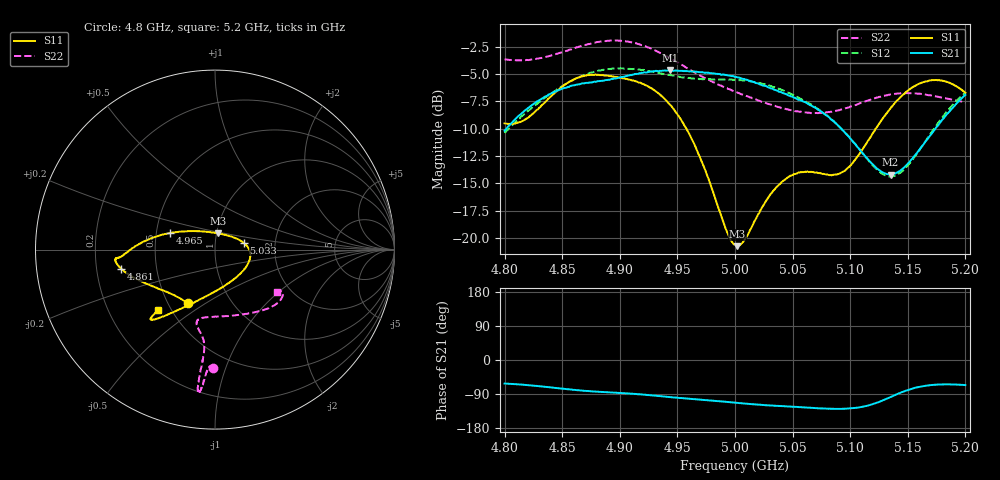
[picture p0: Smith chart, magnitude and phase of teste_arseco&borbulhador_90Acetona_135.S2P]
! Network Analyzer HP8722D
! Hewlett-Packard
! Data name: Linha & Wilkinson
! Saver's name: Rodrigo Anjos
! Comments: Teste da utilização de aquisição
! continua pelo VNA HP8722D
! Time and date: 17/4/2025 12:10
!  Frequency  S11  S21  S12  S22
# HZ  S  MA R 50
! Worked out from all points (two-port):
!   401 points, 4.8 GHz to 5.2 GHz, reference 50 ohm
!   highest |S21| = -4.65 dB at 4.944 GHz (marker M1); lowest = -14.2 dB at 5.135 GHz (marker M2)
!   |S21| within 3 dB of the highest: 4.826 GHz to 5.062 GHz (236.2 MHz wide, 4.78 % of centre); 5.192738 GHz to end of sweep
!   lowest |S11| = -20.7 dB at 5.002 GHz (marker M3), VSWR 1.20, Z = 50.8 + j9.26 ohm
!   |S11| at or under -10 dB: 4.958 GHz to 5.122 GHz (164.2 MHz wide, 3.26 % of centre)
!   |S22| runs from -8.6 to -1.9 dB; largest |S21 - S12| = 0.88
!   S11 on the Smith chart (normalised r, x): 4.8 GHz: 0.63, -0.42; 4.861 GHz: 0.31, -0.09; 4.965 GHz: 0.59, +0.12; 5.033 GHz: 1.37, +0.11; 5.2 GHz: 0.43, -0.36
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4.8e9  0.3348 -116.5  0.3096 -62.0  0.3027 -176.3  0.6581 -90.9
4.819e9  0.3521 -136.8  0.3885 -66.0  0.3758 -175.7  0.6533 -92.4
4.861e9  0.5348 -168.6  0.5006 -79.1  0.5345 -179.0  0.7397 -94.9
4.867e9  0.5487 -171.0  0.5102 -80.7  0.551 179.9  0.7577 -95.2
4.899e9  0.5422 -175.2  0.5408 -86.9  0.5974 173.6  0.7998 -96.6
4.934e9  0.4576 178.8  0.5804 -95.2  0.5703 170.3  0.7074 -97.0
4.944e9  0.4052 174.1  0.5855 -97.9  0.556 170.5  0.6651 -96.7
4.965e9  0.2666 159.7  0.5779 -103.6  0.5359 172.5  0.5719 -96.2
4.993e9  0.1071 112.3  0.556 -110.6  0.5328 174.8  0.4852 -98.7
5e9  0.09343 87.9  0.5459 -112.6  0.5313 174.8  0.4672 -100.2
5.002e9  0.09184 80.0  0.5437 -113.1  0.5284 174.5  0.4632 -100.7
5.009e9  0.09975 56.0  0.5315 -115.2  0.5276 174.5  0.4484 -102.2
5.033e9  0.1641 13.6  0.4813 -120.2  0.491 173.3  0.404 -103.8
5.049e9  0.1935 -1.9  0.4442 -123.0  0.455 172.7  0.3847 -99.4
5.067e9  0.2005 -21.1  0.4017 -126.2  0.4065 172.4  0.3735 -89.3
5.096e9  0.2048 -71.8  0.3014 -128.5  0.3016 174.5  0.3927 -66.8
5.121e9  0.3086 -110.5  0.2134 -115.3  0.2111 -170.2  0.4353 -49.8
5.134e9  0.3865 -120.7  0.1961 -99.2  0.1914 -152.4  0.4532 -43.4
5.135e9  0.3928 -121.3  0.1953 -97.9  0.1916 -150.6  0.4543 -42.9
5.148e9  0.4639 -127.1  0.2133 -81.3  0.2088 -131.6  0.4605 -38.1
5.168e9  0.5243 -131.8  0.2883 -67.1  0.2909 -113.4  0.4503 -33.2
5.2e9  0.4615 -133.3  0.4521 -66.2  0.4618 -108.2  0.417 -34.7
